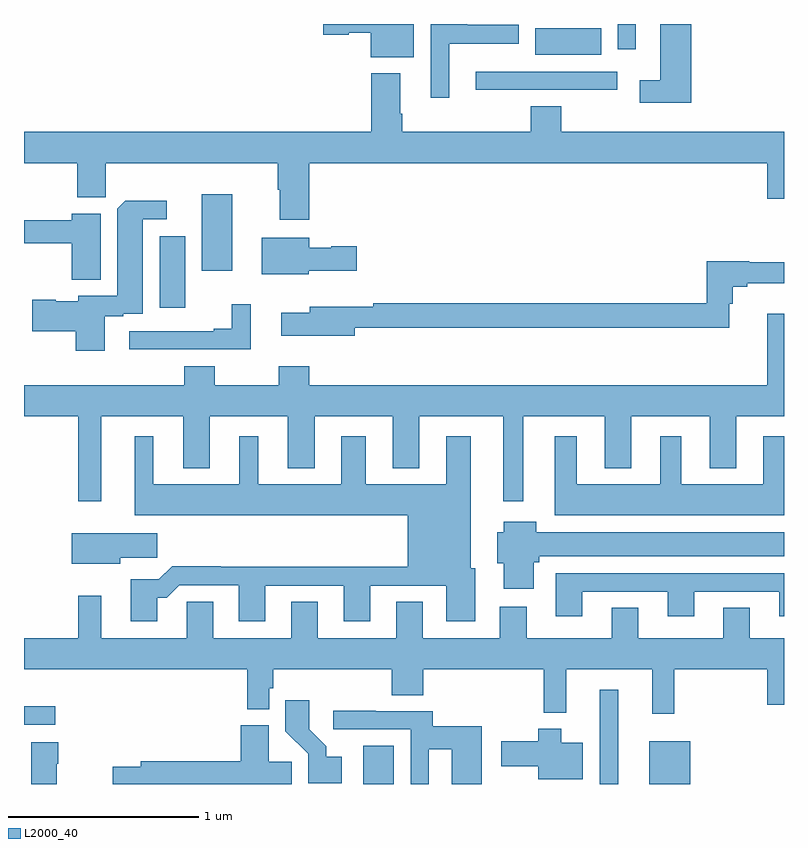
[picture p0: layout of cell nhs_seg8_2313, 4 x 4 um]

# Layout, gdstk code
import gdstk
lib = gdstk.Library(unit=1e-6, precision=1e-09)
def R(c, l, rs):  # rectangles x0, y0, x1, y1
    for r in rs: c.add(gdstk.rectangle(r[:2], r[2:], *l))
def P(c, l, *ps):  # polygons
    for p in ps: c.add(gdstk.Polygon(p, *l))
L2000_40 = (2000, 40)

nhs_seg8_2313 = lib.new_cell('nhs_seg8_2313')
R(nhs_seg8_2313, L2000_40, [(258.785,1111.9,258.946,1112.101), (260.031,1111.9,260.128,1112.395), (260.291,1111.9,260.506,1112.125), (257,1112.211,257.164,1112.309), (257.714,1114.407,257.848,1114.783), (257.936,1114.602,258.097,1115.005), (259.69,1115.738,260.039,1115.878), (260.124,1115.766,260.22,1115.9)])
P(nhs_seg8_2313, L2000_40, [(259.237,1115.795),(259.605,1115.795),(259.605,1115.895),(259.333,1115.895),(259.333,1115.9),(259.14,1115.9),(259.14,1115.511),(259.237,1115.511)],
  [(260.513,1115.9),(260.348,1115.9),(260.348,1115.603),(260.241,1115.603),(260.241,1115.486),(260.513,1115.486)],
  [(259.051,1115.9),(258.576,1115.9),(258.576,1115.843),(258.708,1115.843),(258.708,1115.855),(258.824,1115.855),(258.824,1115.726),(259.051,1115.726)],
  [(260.122,1115.649),(259.596,1115.649),(259.596,1115.65),(259.377,1115.65),(259.377,1115.553),(260.122,1115.553)],
  [(258.5,1115.168),(260.912,1115.168),(260.912,1114.98),(261,1114.98),(261,1115.332),(259.827,1115.332),(259.827,1115.468),(259.666,1115.468),(259.666,1115.332),(258.992,1115.332),(258.992,1115.428),(258.979,1115.428),(258.979,1115.641),(258.827,1115.641),(258.827,1115.332),(257,1115.332),(257,1115.168),(257.279,1115.168),(257.279,1114.987),(257.429,1114.987),(257.429,1115.168),(258.335,1115.168),(258.335,1115.027),(258.347,1115.027),(258.347,1114.869),(258.5,1114.869)],
  [(257.425,1114.362),(257.522,1114.362),(257.522,1114.374),(257.626,1114.374),(257.626,1114.872),(257.752,1114.872),(257.752,1114.97),(257.533,1114.97),(257.492,1114.928),(257.492,1114.47),(257.285,1114.47),(257.285,1114.441),(257.168,1114.441),(257.168,1114.449),(257.043,1114.449),(257.043,1114.283),(257.273,1114.283),(257.273,1114.179),(257.425,1114.179)],
  [(257.404,1114.902),(257.252,1114.902),(257.252,1114.867),(257,1114.867),(257,1114.746),(257.252,1114.746),(257.252,1114.555),(257.404,1114.555)],
  [(258.498,1114.601),(258.751,1114.601),(258.751,1114.731),(258.618,1114.731),(258.618,1114.723),(258.502,1114.723),(258.502,1114.774),(258.251,1114.774),(258.251,1114.583),(258.498,1114.583)],
  [(258.742,1114.302),(260.711,1114.302),(260.711,1114.428),(260.729,1114.428),(260.729,1114.516),(260.806,1114.516),(260.806,1114.535),(261,1114.535),(261,1114.645),(260.816,1114.645),(260.816,1114.652),(260.593,1114.652),(260.593,1114.43),(258.838,1114.43),(258.838,1114.412),(258.503,1114.412),(258.503,1114.381),(258.354,1114.381),(258.354,1114.259),(258.742,1114.259)],
  [(258.193,1114.426),(258.094,1114.426),(258.094,1114.297),(257.999,1114.297),(257.999,1114.284),(257.553,1114.284),(257.553,1114.188),(258.193,1114.188)],
  [(258.5,1114.099),(258.34,1114.099),(258.34,1114),(258.003,1114),(258.003,1114.099),(257.843,1114.099),(257.843,1114),(257,1114),(257,1113.836),(257.286,1113.836),(257.286,1113.387),(257.407,1113.387),(257.407,1113.836),(257.837,1113.836),(257.837,1113.563),(257.977,1113.563),(257.977,1113.836),(258.389,1113.836),(258.389,1113.563),(258.529,1113.563),(258.529,1113.836),(258.941,1113.836),(258.941,1113.563),(259.081,1113.563),(259.081,1113.836),(259.523,1113.836),(259.523,1113.387),(259.627,1113.387),(259.627,1113.836),(260.057,1113.836),(260.057,1113.563),(260.197,1113.563),(260.197,1113.836),(260.609,1113.836),(260.609,1113.563),(260.749,1113.563),(260.749,1113.836),(261,1113.836),(261,1114.375),(260.912,1114.375),(260.912,1114),(258.5,1114)],
  [(257.701,1112.879),(257.75,1112.879),(257.817,1112.946),(258.131,1112.946),(258.131,1112.757),(258.271,1112.757),(258.271,1112.943),(258.683,1112.943),(258.683,1112.757),(258.823,1112.757),(258.823,1112.943),(259.223,1112.943),(259.223,1112.757),(259.375,1112.757),(259.375,1113.036),(259.351,1113.036),(259.351,1113.73),(259.223,1113.73),(259.223,1113.478),(258.799,1113.478),(258.799,1113.73),(258.671,1113.73),(258.671,1113.478),(258.232,1113.478),(258.232,1113.73),(258.134,1113.73),(258.134,1113.478),(257.68,1113.478),(257.68,1113.73),(257.582,1113.73),(257.582,1113.314),(259.019,1113.314),(259.019,1113.044),(258.035,1113.044),(258.035,1113.047),(257.779,1113.047),(257.71,1112.977),(257.561,1112.977),(257.561,1112.757),(257.701,1112.757)],
  [(261,1113.73),(260.891,1113.73),(260.891,1113.478),(260.458,1113.478),(260.458,1113.73),(260.348,1113.73),(260.348,1113.478),(259.909,1113.478),(259.909,1113.73),(259.793,1113.73),(259.793,1113.314),(261,1113.314)],
  [(259.684,1113.066),(259.711,1113.066),(259.711,1113.098),(261,1113.098),(261,1113.226),(259.697,1113.226),(259.697,1113.28),(259.526,1113.28),(259.526,1113.226),(259.49,1113.226),(259.49,1113.062),(259.526,1113.062),(259.526,1112.928),(259.684,1112.928)],
  [(257.506,1113.091),(257.701,1113.091),(257.701,1113.22),(257.252,1113.22),(257.252,1113.059),(257.506,1113.059)],
  [(259.939,1112.913),(260.387,1112.913),(260.387,1112.784),(260.527,1112.784),(260.527,1112.913),(260.975,1112.913),(260.975,1112.784),(261,1112.784),(261,1113.009),(259.799,1113.009),(259.799,1112.784),(259.939,1112.784)],
  [(260.423,1112.504),(260.912,1112.504),(260.912,1112.316),(261,1112.316),(261,1112.668),(260.821,1112.668),(260.821,1112.828),(260.681,1112.828),(260.681,1112.668),(260.233,1112.668),(260.233,1112.828),(260.093,1112.828),(260.093,1112.668),(259.645,1112.668),(259.645,1112.833),(259.505,1112.833),(259.505,1112.668),(259.099,1112.668),(259.099,1112.858),(258.959,1112.858),(258.959,1112.668),(258.547,1112.668),(258.547,1112.858),(258.407,1112.858),(258.407,1112.668),(257.995,1112.668),(257.995,1112.858),(257.856,1112.858),(257.856,1112.668),(257.407,1112.668),(257.407,1112.89),(257.286,1112.89),(257.286,1112.668),(257,1112.668),(257,1112.504),(258.175,1112.504),(258.175,1112.294),(258.291,1112.294),(258.291,1112.403),(258.311,1112.403),(258.311,1112.504),(258.935,1112.504),(258.935,1112.368),(259.1,1112.368),(259.1,1112.504),(259.735,1112.504),(259.735,1112.276),(259.853,1112.276),(259.853,1112.504),(260.306,1112.504),(260.306,1112.271),(260.423,1112.271)],
  [(258.673,1112.044),(258.592,1112.044),(258.592,1112.099),(258.502,1112.189),(258.502,1112.341),(258.376,1112.341),(258.376,1112.178),(258.495,1112.059),(258.495,1111.904),(258.673,1111.904)],
  [(259.131,1112.082),(259.25,1112.082),(259.25,1111.9),(259.408,1111.9),(259.408,1112.203),(259.151,1112.203),(259.151,1112.283),(258.851,1112.283),(258.851,1112.286),(258.627,1112.286),(258.627,1112.187),(259.035,1112.187),(259.035,1111.9),(259.131,1111.9)],
  [(258.41,1112.018),(258.289,1112.018),(258.289,1112.209),(258.14,1112.209),(258.14,1112.02),(257.615,1112.02),(257.615,1111.991),(257.466,1111.991),(257.466,1111.9),(258.41,1111.9)],
  [(259.942,1112.116),(259.828,1112.116),(259.828,1112.191),(259.706,1112.191),(259.706,1112.124),(259.512,1112.124),(259.512,1111.994),(259.706,1111.994),(259.706,1111.925),(259.942,1111.925)],
  [(257.173,1112.006),(257.181,1112.006),(257.181,1112.119),(257.039,1112.119),(257.039,1111.9),(257.173,1111.9)])

lib.write_gds('nhs_seg8_2313.gds')
